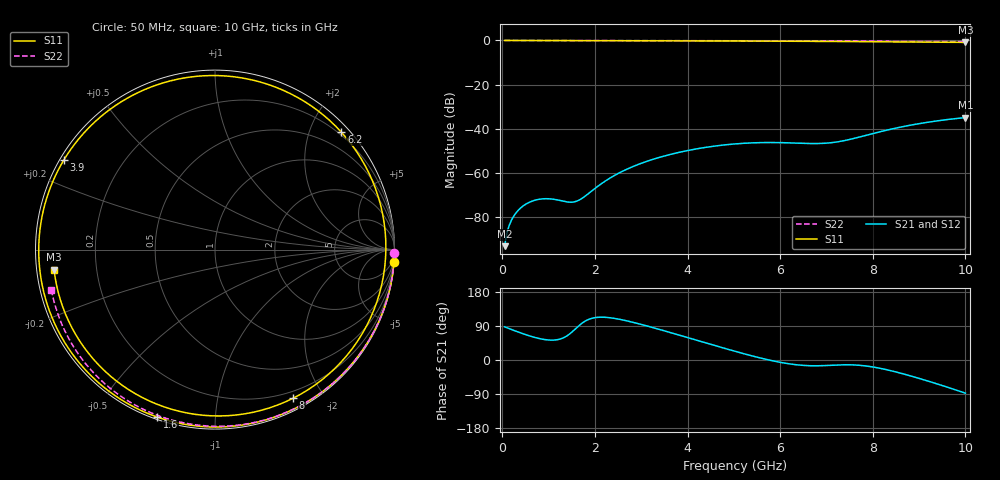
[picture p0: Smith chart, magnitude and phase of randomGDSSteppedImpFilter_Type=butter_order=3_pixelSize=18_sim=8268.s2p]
! freq	dB(S11)	phase(S11)	dB(S12)	phase(S12)
!  dB(S21)	phase(S21)	dB(S22)	phase(S22)
!S-par simulation data
#  GHz  S  DB  R 50
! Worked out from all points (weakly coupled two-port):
!   200 points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, 50 MHz to 10 GHz, reference 50 ohm
!   highest |S21| = -34.89 dB at 10 GHz (marker M1); lowest = -93.1 dB at 50 MHz (marker M2)
!   lowest |S11| = -0.9 dB at 10 GHz (marker M3), VSWR 19.74, Z = 2.54 - j3.12 ohm
!   |S11| at or under -10 dB: nowhere
!   |S22| runs from -0.6 to 0.0 dB; largest |S21 - S12| = 0
!   S11 on the Smith chart (normalised r, x): 50 MHz: 0, -29; 1.6 GHz: 0.01, -0.71; 3.9 GHz: 0.01, +0.28; 6.2 GHz: 0.15, +2.54; 8 GHz: 0.12, -1.65; 10 GHz: 0.05, -0.06
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0.05  -0.00 -3.9  -93.07 87.5  -93.07 87.5  -0.00 -1.0
0.2  -0.02 -15.5  -81.21 80.4  -81.21 80.4  -0.00 -3.9
0.4  -0.04 -30.7  -75.71 71.3  -75.71 71.3  -0.01 -7.7
0.85  -0.08 -63.0  -71.70 55.3  -71.70 55.3  -0.02 -16.3
1.2  -0.10 -85.7  -72.18 53.9  -72.18 53.9  -0.03 -22.9
1.6  -0.11 -109.0  -72.75 84.5  -72.75 84.5  -0.04 -30.5
1.75  -0.12 -117.1  -71.03 99.6  -71.03 99.6  -0.04 -33.2
2.55  -0.14 -155.2  -59.66 107.0  -59.66 107.0  -0.06 -47.9
3.4  -0.16 169.3  -52.85 80.5  -52.85 80.5  -0.08 -62.9
3.9  -0.18 149.2  -50.24 62.8  -50.24 62.8  -0.10 -71.5
4.5  -0.21 124.4  -48.03 41.4  -48.03 41.4  -0.12 -81.6
5.05  -0.25 100.3  -46.77 22.1  -46.77 22.1  -0.14 -90.5
5.65  -0.30 71.7  -46.19 3.1  -46.19 3.1  -0.17 -100.1
6.2  -0.35 42.9  -46.33 -10.2  -46.33 -10.2  -0.20 -108.6
6.7  -0.40 14.7  -46.64 -15.3  -46.64 -15.3  -0.23 -116.3
7.3  -0.47 -20.7  -45.66 -12.9  -45.66 -12.9  -0.27 -125.4
8  -0.58 -62.2  -42.13 -18.4  -42.13 -18.4  -0.33 -135.9
8.35  -0.64 -82.5  -40.34 -27.1  -40.34 -27.1  -0.36 -141.1
8.7  -0.70 -102.3  -38.78 -38.0  -38.78 -38.0  -0.40 -146.3
9.1  -0.76 -124.3  -37.29 -52.1  -37.29 -52.1  -0.44 -152.4
9.55  -0.83 -148.6  -35.94 -69.3  -35.94 -69.3  -0.49 -159.2
10  -0.88 -172.8  -34.89 -87.5  -34.89 -87.5  -0.55 -166.2
